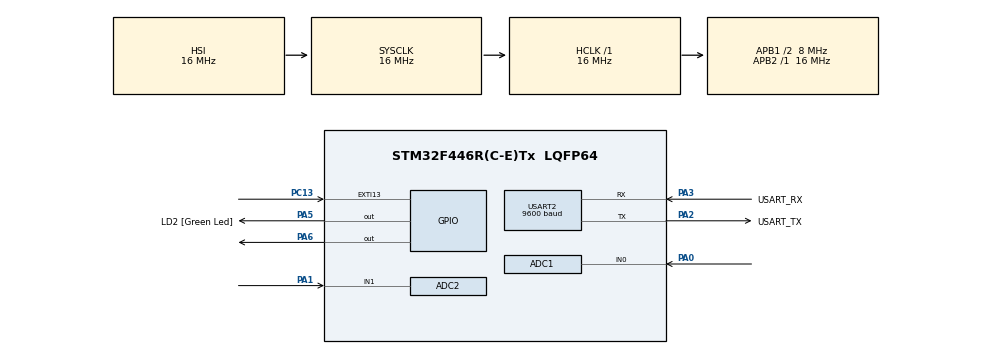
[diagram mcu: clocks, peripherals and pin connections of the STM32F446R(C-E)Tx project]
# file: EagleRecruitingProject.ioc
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ADC1.Channel-0\#ChannelRegularConversion=ADC_CHANNEL_0
ADC1.NbrOfConversionFlag=1
ADC1.Rank-0\#ChannelRegularConversion=1
ADC1.SamplingTime-0\#ChannelRegularConversion=ADC_SAMPLETIME_3CYCLES
ADC1.master=1
ADC2.Channel-0\#ChannelRegularConversion=ADC_CHANNEL_1
ADC2.NbrOfConversionFlag=1
ADC2.Rank-0\#ChannelRegularConversion=1
ADC2.SamplingTime-0\#ChannelRegularConversion=ADC_SAMPLETIME_3CYCLES
Mcu.Family=STM32F4
Mcu.Name=STM32F446R(C-E)Tx
Mcu.Package=LQFP64
NVIC.EXTI15_10_IRQn=true\:0\:1\:true\:false\:true\:true\:true\:true
NVIC.PriorityGroup=NVIC_PRIORITYGROUP_0
NVIC.TIM6_DAC_IRQn=true\:0\:0\:false\:false\:true\:true\:true\:true
NVIC.TIM7_IRQn=true\:0\:0\:false\:false\:true\:true\:true\:true
PA0-WKUP.Signal=ADCx_IN0
PA1.Signal=ADCx_IN1
PA13.GPIO_Label=TMS
PA13.Mode=Serial_Wire
PA13.Signal=SYS_JTMS-SWDIO
PA14.GPIO_Label=TCK
PA14.Mode=Serial_Wire
PA14.Signal=SYS_JTCK-SWCLK
PA2.GPIO_Label=USART_TX
PA2.Mode=Asynchronous
PA2.Signal=USART2_TX
PA3.GPIO_Label=USART_RX
PA3.Mode=Asynchronous
PA3.Signal=USART2_RX
PA5.GPIO_Label=LD2 [Green Led]
PA5.Signal=GPIO_Output
PA6.Signal=GPIO_Output
PB3.GPIO_Label=SWO
PB3.Signal=SYS_JTDO-SWO
PC13.GPIO_ModeDefaultEXTI=GPIO_MODE_IT_FALLING
PC13.GPIO_PuPd=GPIO_PULLUP
PC13.Signal=GPXTI13
PC14-OSC32_IN.Mode=LSE-External-Oscillator
PC14-OSC32_IN.Signal=RCC_OSC32_IN
PC15-OSC32_OUT.Mode=LSE-External-Oscillator
PC15-OSC32_OUT.Signal=RCC_OSC32_OUT
PH0-OSC_IN.Mode=HSE-External-Oscillator
PH0-OSC_IN.Signal=RCC_OSC_IN
PH1-OSC_OUT.Mode=HSE-External-Oscillator
PH1-OSC_OUT.Signal=RCC_OSC_OUT
ProjectManager.HeapSize=0x200
ProjectManager.StackSize=0x400
ProjectManager.TargetToolchain=Makefile
RCC.48MHZClocksFreq_Value=84000000
RCC.AHBFreq_Value=16000000
RCC.APB1CLKDivider=RCC_HCLK_DIV2
RCC.APB1Freq_Value=8000000
RCC.APB1TimFreq_Value=16000000
RCC.APB2Freq_Value=16000000
RCC.APB2TimFreq_Value=16000000
RCC.CortexFreq_Value=16000000
RCC.FLatency-AdvancedSettings=FLASH_LATENCY_0
RCC.HCLKFreq_Value=16000000
RCC.HSE_VALUE=8000000
RCC.HSI_VALUE=16000000
RCC.PLLN=336
RCC.PLLP=RCC_PLLP_DIV4
RCC.SYSCLKFreq_VALUE=16000000
RCC.USBFreq_Value=168000000
RCC.VCOOutputFreq_Value=336000000
SH.ADCx_IN0.0=ADC1_IN0,IN0
SH.ADCx_IN1.0=ADC2_IN1,IN1
TIM6.Period=200
TIM6.Prescaler=15999
TIM7.Period=350
TIM7.Prescaler=15999
USART2.BaudRate=9600
USART2.VirtualMode=VM_ASYNC
VP_TIM6_VS_ClockSourceINT.Mode=Enable_Timer
VP_TIM7_VS_ClockSourceINT.Mode=Enable_Timer
board=NUCLEO-F446RE

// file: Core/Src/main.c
/* USER CODE BEGIN Header */
/**
  ******************************************************************************
  * @file           : main.c
  * @brief          : Main program body
  ******************************************************************************
  * @attention
  *
  * Copyright (c) 2023 STMicroelectronics.
  * All rights reserved.
  *
  * This software is licensed under terms that can be found in the LICENSE file
  * in the root directory of this software component.
  * If no LICENSE file comes with this software, it is provided AS-IS.
  *
  ******************************************************************************
  */
/* USER CODE END Header */
#include "main.h"

ADC_HandleTypeDef hadc1;
ADC_HandleTypeDef hadc2;

TIM_HandleTypeDef htim6;
TIM_HandleTypeDef htim7;

UART_HandleTypeDef huart2;

void SystemClock_Config(void);
static void MX_GPIO_Init(void);
static void MX_ADC1_Init(void);
static void MX_ADC2_Init(void);
static void MX_TIM6_Init(void);
static void MX_TIM7_Init(void);
static void MX_USART2_UART_Init(void);

/* USER CODE BEGIN 0 */
State_t cur_state = STATE_RUNNING;
volatile uint8_t emergency_int = 0;
volatile uint8_t check_sys_voltage_int = 0;
volatile uint8_t check_sensor_int = 0;
unsigned long last_message_time = 0;

void HAL_GPIO_EXTI_Callback(uint16_t GPIO_Pin)
{
  /* Prevent unused argument(s) compilation warning */
  UNUSED(GPIO_Pin);
  emergency_int = 1;
}

void HAL_TIM_PeriodElapsedCallback(TIM_HandleTypeDef *htim)
{
  /* Prevent unused argument(s) compilation warning */
  UNUSED(htim);

  if (htim == &htim6) {
    check_sensor_int = 1;
  } else if (htim == &htim7) {
    check_sys_voltage_int = 1;
  } else {
    HAL_UART_Transmit(&huart2, (const uint8_t *)"timer error: unknown timer\n", 27, 100);
  }
}

void checkSensor(void) {
  int16_t sensor_value = 0;
  HAL_ADC_Start(&hadc1);
  if (HAL_ADC_PollForConversion(&hadc1, 10) == HAL_OK) {
    sensor_value = HAL_ADC_GetValue(&hadc1);
  }
  HAL_ADC_Stop(&hadc1);
  char tx_data[50];
  float force = (float)(sensor_value - 1265) / 2830.0 * 1500.0;
  snprintf(tx_data, 50, "%lu force: %f\n", HAL_GetTick(), force);
  HAL_UART_Transmit(&huart2, (const uint8_t *)tx_data, strlen(tx_data), 100);
}

float checkSystemVoltage(void) {
  float system_voltage = 0.0;
  HAL_ADC_Start(&hadc2);
  if (HAL_ADC_PollForConversion(&hadc2, 10) == HAL_OK) {
    system_voltage = (float)HAL_ADC_GetValue(&hadc2) / 4095.0 * 5.0;
  }
  HAL_ADC_Stop(&hadc2);
  return system_voltage;
}

void fn_StateRunning(void) {
  if (emergency_int) {
    emergency_int = 0;
    cur_state = STATE_WAITING;
    last_message_time = 0;
    HAL_TIM_Base_Stop_IT(&htim6);
    HAL_TIM_Base_Stop_IT(&htim7);
  }

  if (check_sys_voltage_int) {
    check_sys_voltage_int = 0;
    float system_voltage = checkSystemVoltage();
    char tx_data[50];
    snprintf(tx_data, 50, "%lu system voltage: %fV\n", HAL_GetTick(), system_voltage);
    HAL_UART_Transmit(&huart2, (const uint8_t *)tx_data, strlen(tx_data), 100);
    if (system_voltage < 1.8 || system_voltage > 2.7) {
      cur_state = STATE_DANGER;
      if (system_voltage < 1.8) {
        HAL_GPIO_WritePin(GPIOA, GPIO_PIN_5, 0);
        HAL_GPIO_WritePin(GPIOA, GPIO_PIN_6, 1);
      } else {
        HAL_GPIO_WritePin(GPIOA, GPIO_PIN_5, 1);
        HAL_GPIO_WritePin(GPIOA, GPIO_PIN_6, 0);
      }
    }
  }

  if (check_sensor_int) {
    check_sensor_int = 0;
    checkSensor();
  }
}

void fn_StateWaiting(void) {
  if (emergency_int) {
    emergency_int = 0;
    cur_state = STATE_RUNNING;
    HAL_TIM_Base_Start_IT(&htim6);
    HAL_TIM_Base_Start_IT(&htim7);
    check_sys_voltage_int = 0;
    check_sensor_int = 0;
  }

  if (HAL_GetTick() - last_message_time > 500) {
    last_message_time = HAL_GetTick();
    HAL_UART_Transmit(&huart2, (const uint8_t *)"Board in waiting state - please press the emergency button\n", 59, 100);
  }
}

void fn_StateDanger(void) {
  if (emergency_int) {
    emergency_int = 0;
    cur_state = STATE_WAITING;
    last_message_time = 0;
    HAL_TIM_Base_Stop_IT(&htim6);
    HAL_TIM_Base_Stop_IT(&htim7);
    HAL_GPIO_WritePin(GPIOA, GPIO_PIN_5, 0);
    HAL_GPIO_WritePin(GPIOA, GPIO_PIN_6, 0);
  }

  if (check_sys_voltage_int) {
    check_sys_voltage_int = 0;
    float system_voltage = checkSystemVoltage();
    char tx_data[50];
    snprintf(tx_data, 50, "%lu system voltage: %fV\n", HAL_GetTick(), system_voltage);
    HAL_UART_Transmit(&huart2, (const uint8_t *)tx_data, strlen(tx_data), 100);
    if (system_voltage < 1.8) {
      HAL_GPIO_WritePin(GPIOA, GPIO_PIN_5, 0);
      HAL_GPIO_WritePin(GPIOA, GPIO_PIN_6, 1);
    } else if (system_voltage > 2.7) {
      HAL_GPIO_WritePin(GPIOA, GPIO_PIN_5, 1);
      HAL_GPIO_WritePin(GPIOA, GPIO_PIN_6, 0);
    } else {
      cur_state = STATE_RUNNING;
    }
  }

  if (check_sensor_int) {
    check_sensor_int = 0;
    checkSensor();
  }
}

StateMachine_t StateMachine[] = {
  {STATE_RUNNING, fn_StateRunning},
  {STATE_WAITING, fn_StateWaiting},
  {STATE_DANGER, fn_StateDanger}
} ;

void FSM_run(void){
  if(cur_state < NUM_STATES){
    (*StateMachine[cur_state].func)();
  }
  else{
    HAL_UART_Transmit(&huart2, (const uint8_t *)"FSM error\n", 10, 100);
  }
}
/* USER CODE END 0 */

int main(void)
{

  /* MCU Configuration--------------------------------------------------------*/

  /* Reset of all peripherals, Initializes the Flash interface and the Systick. */
  HAL_Init();

  /* Configure the system clock */
  SystemClock_Config();

  /* Initialize all configured peripherals */
  MX_GPIO_Init();
  MX_ADC1_Init();
  MX_ADC2_Init();
  MX_TIM6_Init();
  MX_TIM7_Init();
  MX_USART2_UART_Init();
  /* USER CODE BEGIN 2 */
  HAL_TIM_Base_Start_IT(&htim6);
  HAL_TIM_Base_Start_IT(&htim7);

  cur_state = STATE_RUNNING;
  emergency_int = 0;
  check_sys_voltage_int = 0;
  check_sensor_int = 0;
  /* USER CODE END 2 */

  /* Infinite loop */
  while (1)
  {
    FSM_run();
  }
}

void SystemClock_Config(void)
{
  RCC_OscInitTypeDef RCC_OscInitStruct = {0};
  RCC_ClkInitTypeDef RCC_ClkInitStruct = {0};

  /** Configure the main internal regulator output voltage
  */
  __HAL_RCC_PWR_CLK_ENABLE();
  __HAL_PWR_VOLTAGESCALING_CONFIG(PWR_REGULATOR_VOLTAGE_SCALE3);

  /** Initializes the RCC Oscillators according to the specified parameters
  * in the RCC_OscInitTypeDef structure.
  */
  RCC_OscInitStruct.OscillatorType = RCC_OSCILLATORTYPE_HSI;
  RCC_OscInitStruct.HSIState = RCC_HSI_ON;
  RCC_OscInitStruct.HSICalibrationValue = RCC_HSICALIBRATION_DEFAULT;
  RCC_OscInitStruct.PLL.PLLState = RCC_PLL_NONE;
  if (HAL_RCC_OscConfig(&RCC_OscInitStruct) != HAL_OK)
  {
    Error_Handler();
  }

  /** Initializes the CPU, AHB and APB buses clocks
  */
  RCC_ClkInitStruct.ClockType = RCC_CLOCKTYPE_HCLK|RCC_CLOCKTYPE_SYSCLK
                              |RCC_CLOCKTYPE_PCLK1|RCC_CLOCKTYPE_PCLK2;
  RCC_ClkInitStruct.SYSCLKSource = RCC_SYSCLKSOURCE_HSI;
  RCC_ClkInitStruct.AHBCLKDivider = RCC_SYSCLK_DIV1;
  RCC_ClkInitStruct.APB1CLKDivider = RCC_HCLK_DIV2;
  RCC_ClkInitStruct.APB2CLKDivider = RCC_HCLK_DIV1;

  if (HAL_RCC_ClockConfig(&RCC_ClkInitStruct, FLASH_LATENCY_0) != HAL_OK)
  {
    Error_Handler();
  }
}

static void MX_ADC1_Init(void)
{

  ADC_ChannelConfTypeDef sConfig = {0};

  /** Configure the global features of the ADC (Clock, Resolution, Data Alignment and number of conversion)
  */
  hadc1.Instance = ADC1;
  hadc1.Init.ClockPrescaler = ADC_CLOCK_SYNC_PCLK_DIV2;
  hadc1.Init.Resolution = ADC_RESOLUTION_12B;
  hadc1.Init.ScanConvMode = DISABLE;
  hadc1.Init.ContinuousConvMode = DISABLE;
  hadc1.Init.DiscontinuousConvMode = DISABLE;
  hadc1.Init.ExternalTrigConvEdge = ADC_EXTERNALTRIGCONVEDGE_NONE;
  hadc1.Init.ExternalTrigConv = ADC_SOFTWARE_START;
  hadc1.Init.DataAlign = ADC_DATAALIGN_RIGHT;
  hadc1.Init.NbrOfConversion = 1;
  hadc1.Init.DMAContinuousRequests = DISABLE;
  hadc1.Init.EOCSelection = ADC_EOC_SINGLE_CONV;
  if (HAL_ADC_Init(&hadc1) != HAL_OK)
  {
    Error_Handler();
  }

  /** Configure for the selected ADC regular channel its corresponding rank in the sequencer and its sample time.
  */
  sConfig.Channel = ADC_CHANNEL_0;
  sConfig.Rank = 1;
  sConfig.SamplingTime = ADC_SAMPLETIME_3CYCLES;
  if (HAL_ADC_ConfigChannel(&hadc1, &sConfig) != HAL_OK)
  {
    Error_Handler();
  }

}

static void MX_ADC2_Init(void)
{

  ADC_ChannelConfTypeDef sConfig = {0};

  /** Configure the global features of the ADC (Clock, Resolution, Data Alignment and number of conversion)
  */
  hadc2.Instance = ADC2;
  hadc2.Init.ClockPrescaler = ADC_CLOCK_SYNC_PCLK_DIV2;
  hadc2.Init.Resolution = ADC_RESOLUTION_12B;
  hadc2.Init.ScanConvMode = DISABLE;
  hadc2.Init.ContinuousConvMode = DISABLE;
  hadc2.Init.DiscontinuousConvMode = DISABLE;
  hadc2.Init.ExternalTrigConvEdge = ADC_EXTERNALTRIGCONVEDGE_NONE;
  hadc2.Init.ExternalTrigConv = ADC_SOFTWARE_START;
  hadc2.Init.DataAlign = ADC_DATAALIGN_RIGHT;
  hadc2.Init.NbrOfConversion = 1;
  hadc2.Init.DMAContinuousRequests = DISABLE;
  hadc2.Init.EOCSelection = ADC_EOC_SINGLE_CONV;
  if (HAL_ADC_Init(&hadc2) != HAL_OK)
  {
    Error_Handler();
  }

  /** Configure for the selected ADC regular channel its corresponding rank in the sequencer and its sample time.
  */
  sConfig.Channel = ADC_CHANNEL_1;
  sConfig.Rank = 1;
  sConfig.SamplingTime = ADC_SAMPLETIME_3CYCLES;
  if (HAL_ADC_ConfigChannel(&hadc2, &sConfig) != HAL_OK)
  {
    Error_Handler();
  }

}

static void MX_TIM6_Init(void)
{

  TIM_MasterConfigTypeDef sMasterConfig = {0};

  htim6.Instance = TIM6;
  htim6.Init.Prescaler = 15999;
  htim6.Init.CounterMode = TIM_COUNTERMODE_UP;
  htim6.Init.Period = 200;
  htim6.Init.AutoReloadPreload = TIM_AUTORELOAD_PRELOAD_DISABLE;
  if (HAL_TIM_Base_Init(&htim6) != HAL_OK)
  {
    Error_Handler();
  }
  sMasterConfig.MasterOutputTrigger = TIM_TRGO_RESET;
  sMasterConfig.MasterSlaveMode = TIM_MASTERSLAVEMODE_DISABLE;
  if (HAL_TIMEx_MasterConfigSynchronization(&htim6, &sMasterConfig) != HAL_OK)
  {
    Error_Handler();
  }

}

static void MX_TIM7_Init(void)
{

  TIM_MasterConfigTypeDef sMasterConfig = {0};

  htim7.Instance = TIM7;
  htim7.Init.Prescaler = 15999;
  htim7.Init.CounterMode = TIM_COUNTERMODE_UP;
  htim7.Init.Period = 350;
  htim7.Init.AutoReloadPreload = TIM_AUTORELOAD_PRELOAD_DISABLE;
  if (HAL_TIM_Base_Init(&htim7) != HAL_OK)
  {
    Error_Handler();
  }
  sMasterConfig.MasterOutputTrigger = TIM_TRGO_RESET;
  sMasterConfig.MasterSlaveMode = TIM_MASTERSLAVEMODE_DISABLE;
  if (HAL_TIMEx_MasterConfigSynchronization(&htim7, &sMasterConfig) != HAL_OK)
  {
    Error_Handler();
  }

}

static void MX_USART2_UART_Init(void)
{

  huart2.Instance = USART2;
  huart2.Init.BaudRate = 9600;
  huart2.Init.WordLength = UART_WORDLENGTH_8B;
  huart2.Init.StopBits = UART_STOPBITS_1;
  huart2.Init.Parity = UART_PARITY_NONE;
  huart2.Init.Mode = UART_MODE_TX_RX;
  huart2.Init.HwFlowCtl = UART_HWCONTROL_NONE;
  huart2.Init.OverSampling = UART_OVERSAMPLING_16;
  if (HAL_UART_Init(&huart2) != HAL_OK)
  {
    Error_Handler();
  }

}

static void MX_GPIO_Init(void)
{
  GPIO_InitTypeDef GPIO_InitStruct = {0};

  /* GPIO Ports Clock Enable */
  __HAL_RCC_GPIOC_CLK_ENABLE();
  __HAL_RCC_GPIOH_CLK_ENABLE();
  __HAL_RCC_GPIOA_CLK_ENABLE();
  __HAL_RCC_GPIOB_CLK_ENABLE();

  /*Configure GPIO pin Output Level */
  HAL_GPIO_WritePin(GPIOA, LD2_Pin|GPIO_PIN_6, GPIO_PIN_RESET);

  /*Configure GPIO pin : PC13 */
  GPIO_InitStruct.Pin = GPIO_PIN_13;
  GPIO_InitStruct.Mode = GPIO_MODE_IT_FALLING;
  GPIO_InitStruct.Pull = GPIO_PULLUP;
  HAL_GPIO_Init(GPIOC, &GPIO_InitStruct);

  /*Configure GPIO pins : LD2_Pin PA6 */
  GPIO_InitStruct.Pin = LD2_Pin|GPIO_PIN_6;
  GPIO_InitStruct.Mode = GPIO_MODE_OUTPUT_PP;
  GPIO_InitStruct.Pull = GPIO_NOPULL;
  GPIO_InitStruct.Speed = GPIO_SPEED_FREQ_LOW;
  HAL_GPIO_Init(GPIOA, &GPIO_InitStruct);

  /* EXTI interrupt init*/
  HAL_NVIC_SetPriority(EXTI15_10_IRQn, 0, 1);
  HAL_NVIC_EnableIRQ(EXTI15_10_IRQn);

}

void Error_Handler(void)
{
  __disable_irq();
  while (1)
  {
  }
}
